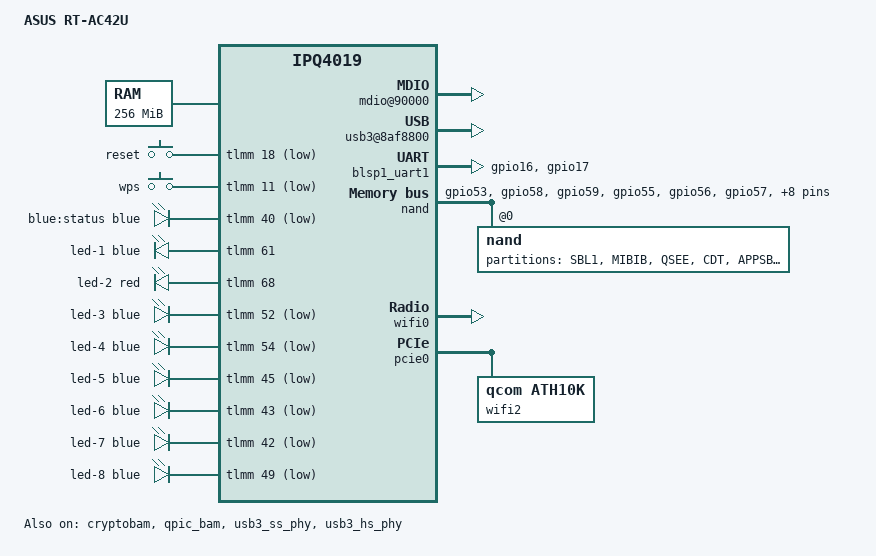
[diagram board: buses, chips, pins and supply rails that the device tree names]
// SPDX-License-Identifier: GPL-2.0-or-later OR MIT

#include "qcom-ipq4019.dtsi"
#include <dt-bindings/gpio/gpio.h>
#include <dt-bindings/input/input.h>
#include <dt-bindings/leds/common.h>
#include <dt-bindings/soc/qcom,tcsr.h>

/ {
	model = "ASUS RT-AC42U";
	compatible = "asus,rt-ac42u";

	memory {
		device_type = "memory";
		reg = <0x80000000 0x10000000>; /* 256MB */
	};

	aliases {
		led-boot = &led_power;
		led-failsafe = &led_power;
		led-running = &led_power;
		led-upgrade = &led_power;
	};

	soc {
		rng@22000 {
			status = "okay";
		};

		mdio@90000 {
			status = "okay";
		};

		ess-psgmii@98000 {
			status = "okay";
		};

		tcsr@1949000 {
			compatible = "qcom,tcsr";
			reg = <0x1949000 0x100>;
			qcom,wifi_glb_cfg = <TCSR_WIFI_GLB_CFG>;
		};

		tcsr@194b000 {
			compatible = "qcom,tcsr";
			reg = <0x194b000 0x100>;
			qcom,usb-hsphy-mode-select = <TCSR_USB_HSPHY_HOST_MODE>;
		};

		ess_tcsr@1953000 {
			compatible = "qcom,tcsr";
			reg = <0x1953000 0x1000>;
			qcom,ess-interface-select = <TCSR_ESS_PSGMII>;
		};

		tcsr@1957000 {
			compatible = "qcom,tcsr";
			reg = <0x1957000 0x100>;
			qcom,wifi_noc_memtype_m0_m2 = <TCSR_WIFI_NOC_MEMTYPE_M0_M2>;
		};

		usb3@8af8800 {
			status = "okay";

			dwc3@8a00000 {
				#address-cells = <1>;
				#size-cells = <0>;

				usb3_port1: port@1 {
					reg = <1>;
					#trigger-source-cells = <0>;
				};

				usb3_port2: port@2 {
					reg = <2>;
					#trigger-source-cells = <0>;
				};
			};
		};

		crypto@8e3a000 {
			status = "okay";
		};

		watchdog@b017000 {
			status = "okay";
		};

		ess-switch@c000000 {
			status = "okay";
		};

		edma@c080000 {
			status = "okay";
		};
	};

	keys {
		compatible = "gpio-keys";

		reset {
			label = "reset";
			gpios = <&tlmm 18 GPIO_ACTIVE_LOW>;
			linux,code = <KEY_RESTART>;
		};

		wps {
			label = "wps";
			gpios = <&tlmm 11 GPIO_ACTIVE_LOW>;
			linux,code = <KEY_WPS_BUTTON>;
		};
	};

	leds {
		compatible = "gpio-leds";

		led_power: led-0 {
			color = <LED_COLOR_ID_BLUE>;
			function = LED_FUNCTION_STATUS;
			gpios = <&tlmm 40 GPIO_ACTIVE_LOW>;
			label = "blue:status";
		};

		led-1 {
			color = <LED_COLOR_ID_BLUE>;
			function = LED_FUNCTION_WAN;
			gpios = <&tlmm 61 GPIO_ACTIVE_HIGH>;
			linux,default-trigger = "90000.mdio-1:04:link";
		};

		led-2 {
			color = <LED_COLOR_ID_RED>;
			function = LED_FUNCTION_WAN;
			gpios = <&tlmm 68 GPIO_ACTIVE_HIGH>;
			linux,default-trigger = "none";
		};

		led-3 {
			color = <LED_COLOR_ID_BLUE>;
			function = LED_FUNCTION_WLAN;
			function-enumerator = <0>;
			gpios = <&tlmm 52 GPIO_ACTIVE_LOW>;
			linux,default-trigger = "phy1tpt";
		};

		led-4 {
			color = <LED_COLOR_ID_BLUE>;
			function = LED_FUNCTION_WLAN;
			function-enumerator = <1>;
			gpios = <&tlmm 54 GPIO_ACTIVE_LOW>;
			linux,default-trigger = "phy0tpt";
		};

		led-5 {
			color = <LED_COLOR_ID_BLUE>;
			function = LED_FUNCTION_LAN;
			function-enumerator = <1>;
			gpios = <&tlmm 45 GPIO_ACTIVE_LOW>;
		};

		led-6 {
			color = <LED_COLOR_ID_BLUE>;
			function = LED_FUNCTION_LAN;
			function-enumerator = <2>;
			gpios = <&tlmm 43 GPIO_ACTIVE_LOW>;
		};

		led-7 {
			color = <LED_COLOR_ID_BLUE>;
			function = LED_FUNCTION_LAN;
			function-enumerator = <3>;
			gpios = <&tlmm 42 GPIO_ACTIVE_LOW>;
		};

		led-8 {
			color = <LED_COLOR_ID_BLUE>;
			function = LED_FUNCTION_LAN;
			function-enumerator = <4>;
			gpios = <&tlmm 49 GPIO_ACTIVE_LOW>;
		};
	};
};

&cryptobam {
	status = "okay";
};

&blsp_dma {
	status = "okay";
};

&qpic_bam {
	status = "okay";
};

&tlmm {
	serial_0_pins: serial0_pinmux {
		mux {
			pins = "gpio16", "gpio17";
			function = "blsp_uart0";
			bias-disable;
		};
	};

	nand_pins: nand_pins {
		pullups {
			pins = "gpio53", "gpio58", "gpio59";
			function = "qpic";
			bias-pull-up;
		};

		pulldowns {
			pins = "gpio55", "gpio56", "gpio57", "gpio60",
				"gpio62", "gpio63", "gpio64", "gpio65",
				"gpio66", "gpio67", "gpio69";
			function = "qpic";
			bias-pull-down;
		};
	};
};

&blsp1_uart1 {
	pinctrl-0 = <&serial_0_pins>;
	pinctrl-names = "default";
	status = "okay";
};

&nand {
	pinctrl-0 = <&nand_pins>;
	pinctrl-names = "default";
	status = "okay";

	nand@0 {
		partitions {
			compatible = "fixed-partitions";
			#address-cells = <1>;
			#size-cells = <1>;

			partition@0 {
				label = "SBL1";
				reg = <0x00000000 0x00080000>;
				read-only;
			};
			partition@80000 {
				label = "MIBIB";
				reg = <0x00080000 0x00080000>;
				read-only;
			};
			partition@100000 {
				label = "QSEE";
				reg = <0x00100000 0x00100000>;
				read-only;
			};
			partition@200000 {
				label = "CDT";
				reg = <0x00200000 0x00080000>;
				read-only;
			};
			partition@280000 {
				label = "APPSBL";
				reg = <0x00280000 0x00140000>;
				read-only;
			};
			partition@3C0000 {
				label = "APPSBLENV";
				reg = <0x003C0000 0x00040000>;
				read-only;
			};
			partition@400000 {
				label = "ubi";
				reg = <0x00400000 0x07C00000>;
			};
		};
	};
};

&usb3_ss_phy {
	status = "okay";
};

&usb3_hs_phy {
	status = "okay";
};

&wifi0 {
	status = "okay";
	qcom,ath10k-calibration-variant = "ASUS-RT-AC42U";
};

&pcie0 {
	status = "okay";
	perst-gpio = <&tlmm 38 GPIO_ACTIVE_LOW>;
	wake-gpio = <&tlmm 50 GPIO_ACTIVE_LOW>;
	clkreq-gpio = <&tlmm 39 GPIO_ACTIVE_LOW>;

	bridge@0,0 {
		reg = <0x00000000 0 0 0 0>;
		#address-cells = <3>;
		#size-cells = <2>;
		ranges;

		wifi2: wifi@1,0 {
			compatible = "qcom,ath10k";
			reg = <0x00010000 0 0 0 0>;

			qcom,ath10k-calibration-variant = "ASUS-RT-AC42U";
		};
	};
};
